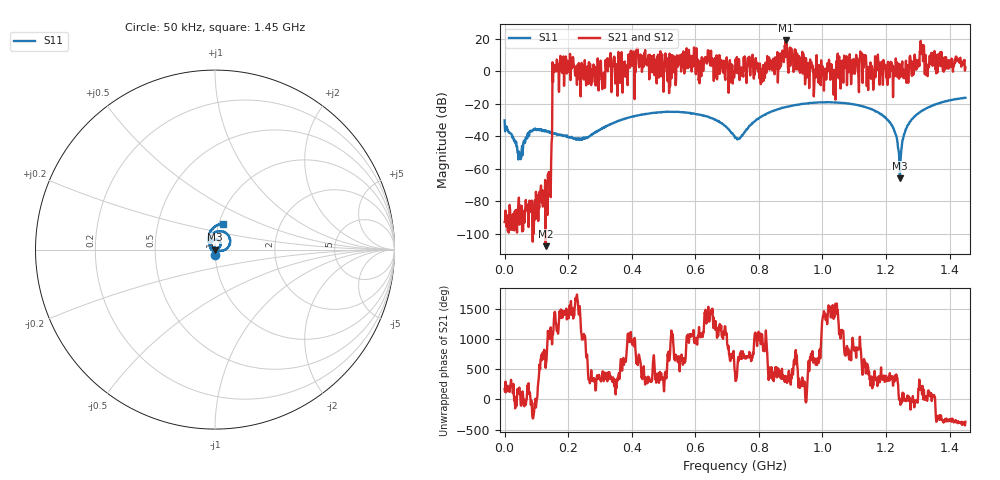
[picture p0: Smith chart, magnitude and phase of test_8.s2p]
! Created with skrf 1.11.0 (http://scikit-rf.org).
# Hz S RI R 50.0
!freq ReS11 ImS11 ReS21 ImS21 ReS12 ImS12 ReS22 ImS22
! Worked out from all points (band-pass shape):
!   1001 points, 50 kHz to 1.45 GHz, reference 50 ohm
!   highest |S21| = 18.91 dB at 884.5 MHz (marker M1); lowest = -107.7 dB at 129.1 MHz (marker M2)
!   |S21| within 3 dB of the highest: 883.6063 MHz to 884.946 MHz (1.34 MHz wide, 0.152 % of centre); 887.2475 MHz to 887.6359 MHz (388.4 kHz wide, 0.0438 % of centre) (the widest 2 of 4)
!   lowest |S11| = -65.8 dB at 1.244 GHz (marker M3), VSWR 1.00, Z = 50 - j0.0406 ohm
!   |S11| at or under -10 dB: start of sweep to end of sweep
!   |S22| runs from - to - dB; largest |S21 - S12| = 0
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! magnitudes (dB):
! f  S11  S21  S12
! 50 kHz  -30.3  -92.7  -92.7
! 49.35 MHz  -52.3  -88.1  -88.1
! 82.7 MHz  -37.3  -85.8  -85.8
! 129.1 MHz  -36.3  -107.7  -107.7
! 142.1 MHz  -38.0  -62.4  -62.4
! 158.1 MHz  -38.5  -0.1  -0.1
! 242.2 MHz  -42.3  5.1  5.1
! 311.8 MHz  -34.8  -0.9  -0.9
! 327.7 MHz  -33.2  2.9  2.9
! 420.5 MHz  -27.2  8.2  8.2
! 484.3 MHz  -25.4  -4.0  -4.0
! 646.7 MHz  -28.6  3.6  3.6
! 725 MHz  -41.0  -1.0  -1.0
! 812 MHz  -27.5  -1.4  -1.4
! 884.5 MHz  -22.1  18.9  18.9
! 967.2 MHz  -19.5  2.0  2.0
! 1.209 GHz  -30.8  2.3  2.3
! 1.244 GHz  -65.8  3.4  3.4
! 1.298 GHz  -26.5  1.7  1.7
! 1.314 GHz  -24.3  10.6  10.6
! 1.328 GHz  -22.8  3.6  3.6
! 1.45 GHz  -16.4  2.4  2.4
